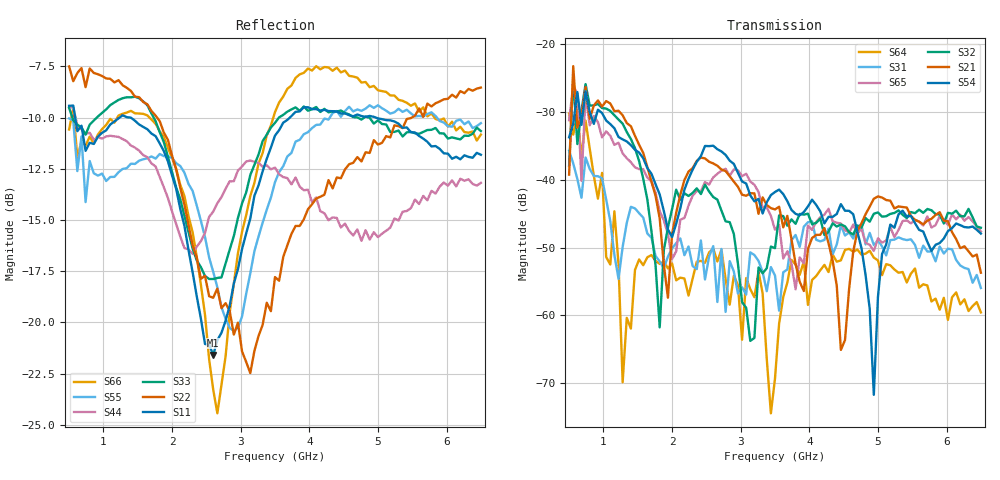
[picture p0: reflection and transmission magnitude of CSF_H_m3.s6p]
!Keysight Technologies,M9804A,MY58100912,A.14.10.03
!Date: Thursday, April 27, 2023 10:28:33
!Correction: S11(C  6-Port  )
!S12(C  6-Port  )
!S13(C  6-Port  )
!S14(C  6-Port  )
!S15(C  6-Port  )
!S16(C  6-Port  )
!S21(C  6-Port  )
!S22(C  6-Port  )
!S23(C  6-Port  )
!S24(C  6-Port  )
!S25(C  6-Port  )
!S26(C  6-Port  )
!S31(C  6-Port  )
!S32(C  6-Port  )
!S33(C  6-Port  )
!S34(C  6-Port  )
!S35(C  6-Port  )
!S36(C  6-Port  )
!S41(C  6-Port  )
!S42(C  6-Port  )
!S43(C  6-Port  )
!S44(C  6-Port  )
!S45(C  6-Port  )
!S46(C  6-Port  )
!S51(C  6-Port  )
!S52(C  6-Port  )
!S53(C  6-Port  )
!S54(C  6-Port  )
!S55(C  6-Port  )
!S56(C  6-Port  )
!S61(C  6-Port  )
!S62(C  6-Port  )
!S63(C  6-Port  )
!S64(C  6-Port  )
!S65(C  6-Port  )
!S66(C  6-Port  )
!S6P File: Measurement: :
# Hz S  RI  R 50
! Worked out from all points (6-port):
!   101 points, 500 MHz to 6.5 GHz, reference 50 ohm
!   strongest paths, dB at 500 MHz, 2 GHz, 3.5 GHz, 5 GHz, 6.5 GHz:
!     S54: -33.8, -48.5, -41.8, -57.3, -47.9
!     S21: -39.3, -48.0, -44.4, -42.5, -53.7
!     S32: -37.9, -44.3, -50.1, -44.8, -47.1
!     S65: -31.2, -51.7, -47.4, -48.6, -47.6
!     S31: -35.7, -50.1, -54.1, -48.9, -56.0
!     S64: -30.3, -52.3, -69.3, -51.9, -59.5
!   lowest |S11| = -21.6 dB at 2.6 GHz (marker M1), VSWR 1.18, Z = 42.6 + j2.01 ohm
!   |S11| at or under -10 dB: 588.2 MHz to 1.235 GHz (646.9 MHz wide, 71 % of centre); 1.395 GHz to 3.716 GHz (2.32 GHz wide, 90.8 % of centre); 4.971 GHz to end of sweep
